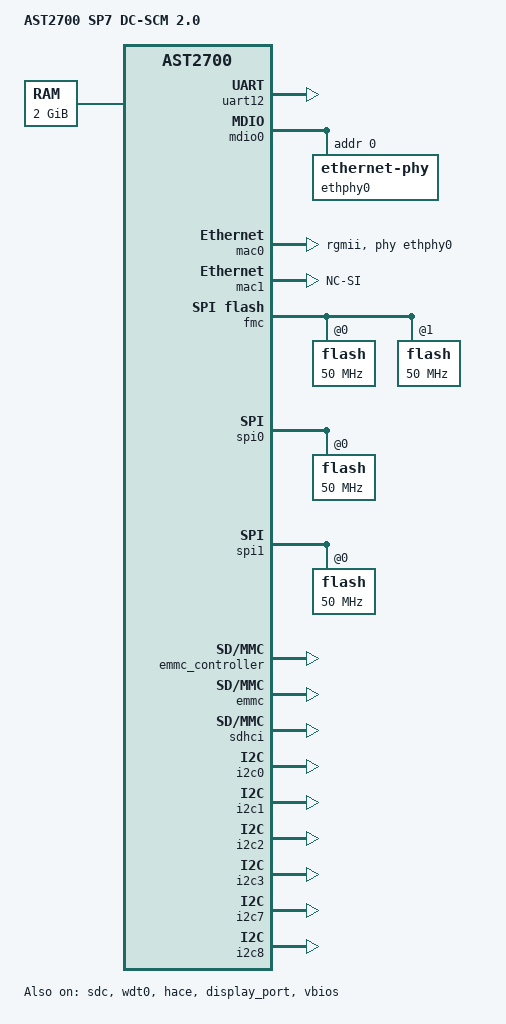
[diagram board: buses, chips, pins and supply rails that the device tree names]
// SPDX-License-Identifier: GPL-2.0+

/dts-v1/;

#include "ast2700.dtsi"
#include "ast2700-u-boot.dtsi"

/ {
	model = "AST2700 SP7 DC-SCM 2.0";
	compatible = "aspeed,ast2700-sp7", "aspeed,ast2700";

	memory {
		device_type = "memory";
		reg = <0x4 0x00000000 0x0 0x80000000>;
	};

	chosen {
		stdout-path = &uart12;
	};

	reserved-memory {
		#address-cells = <2>;
		#size-cells = <2>;

		bmc_dev0_memory: bmc-dev0-memory@423800000 {
			reg = <0x4 0x23800000 0x0 0x100000>;
			no-map;
		};

		bmc_dev1_memory: bmc-dev1-memory@423900000 {
			reg = <0x4 0x23900000 0x0 0x100000>;
			no-map;
		};

		pcie0_mmbi0_memory: pcie0-mmbi0-memory@423a00000 {
			reg = <0x4 0x23a00000 0x0 0x200000>;
			no-map;
		};

		pcie1_mmbi4_memory: pcie1-mmbi4-memory@423c00000 {
			reg = <0x4 0x23c00000 0x0 0x200000>;
			no-map;
		};

		pcie2_mmbi0_memory: pcie2-mmbi0-memory@423e00000 {
			reg = <0x4 0x23e00000 0x0 0x200000>;
			no-map;
		};

		espi0_mmbi_memory: espi0-mmbi-memory@424000000 {
			reg = <0x4 0x24000000 0x0 0x4000000>;
			no-map;
		};

		espi1_mmbi_memory: espi1-mmbi-memory@428000000 {
			reg = <0x4 0x28000000 0x0 0x4000000>;
			no-map;
		};

		ssp_memory: ssp-memory@42c000000 {
			reg = <0x4 0x2c000000 0x0 0x2000000>;
			no-map;
		};

		tsp_memory: tsp-memory@42e000000 {
			reg = <0x4 0x2e000000 0x0 0x2000000>;
			no-map;
		};

		atf: trusted-firmware-a@430000000 {
			reg = <0x4 0x30000000 0x0 0x80000>;
			no-map;
		};

		optee_core: optee-core@430080000 {
			reg = <0x4 0x30080000 0x0 0x1000000>;
			no-map;
		};

		vbios_base0: vbios-base0@431bb0000 {
			reg = <0x4 0x31bb0000 0x0 0x10000>;
			no-map;
		};

		vbios_base1: vbios-base1@431bc0000 {
			reg = <0x4 0x31bc0000 0x0 0x10000>;
			no-map;
		};

		mctp0_reserved: mctp0-reserved@431bd0000 {
			reg = <0x4 0x31bd0000 0x0 0x10000>;
			no-map;
		};

		mctp1_reserved: mctp1-reserved@431be0000 {
			reg = <0x4 0x31be0000 0x0 0x10000>;
			no-map;
		};

		mctp2_reserved: mctp2-reserved@431bf0000 {
			reg = <0x4 0x31bf0000 0x0 0x10000>;
			no-map;
		};
	};
};

&uart12 {
	status = "okay";
};

&mdio0 {
	status = "okay";
	#address-cells = <1>;
	#size-cells = <0>;
	ethphy0: ethernet-phy@0 {
		reg = <0>;
	};
};

&mac0 {
	status = "okay";
	phy-mode = "rgmii";
	phy-handle = <&ethphy0>;
	pinctrl-names = "default";
	pinctrl-0 = <&pinctrl_rgmii0_default>;
};

&mac1 {
	status = "okay";
	phy-mode = "NC-SI";
	use-ncsi;
	pinctrl-name = "default";
	pinctrl-0 = <&pinctrl_rmii1_default>;
	/delete-property/phy-handle;

};

&fmc {
	status = "okay";
	pinctrl-names = "default";
	pinctrl-0 = <&pinctrl_fwspi_quad_default>;

	/* BMC Flash */
	flash@0 {
		status = "okay";
		spi-max-frequency = <50000000>;
		spi-tx-bus-width = <4>;
		spi-rx-bus-width = <4>;
	};

	/* MP Flash */
	flash@1 {
		status = "okay";
		spi-max-frequency = <50000000>;
		spi-tx-bus-width = <4>;
		spi-rx-bus-width = <4>;
	};
};

&spi0 {
	status = "okay";
	pinctrl-names = "default";
	pinctrl-0 = <&pinctrl_spi0_default &pinctrl_spi0_cs1_default>;

	/* SCM Flashes: P0, P1, RoT Flash */
	flash@0 {
		status = "okay";
		spi-max-frequency = <50000000>;
		spi-tx-bus-width = <1>;
		spi-rx-bus-width = <1>;
	};
};

&spi1 {
	status = "okay";
	pinctrl-names = "default";
	pinctrl-0 = <&pinctrl_spi1_default &pinctrl_spi1_cs1_default>;

	/* HPM Flashes */
	flash@0 {
		status = "okay";
		spi-max-frequency = <50000000>;
		spi-tx-bus-width = <1>;
		spi-rx-bus-width = <1>;
	};
};

&emmc_controller {
	status = "okay";
	timing-phase = <0xf0097>;
};

&emmc {
	status = "okay";
};

&sdc {
	timing-phase = <0x1f0097>;
	status = "okay";
};

&sdhci {
	status = "okay";
	sdhci,auto-cmd12;
	sdhci-drive-type = <3>;
};

&i2c0 {
	status = "okay";
};

&i2c1 {
	status = "okay";
};

&i2c2 {
	status = "okay";
};

&i2c3 {
	status = "okay";
};

&i2c7 {
	status = "okay";
};

&i2c8 {
	status = "okay";
};

&wdt0 {
	status = "okay";
};

&hace {
	status = "okay";
};

&display_port {
	status = "okay";
};

&vbios {
	status = "okay";
};

&soc1_clk {
	mac0-clk-delay = <0x35 0x34
			  0x10 0x10
			  0x10 0x10>;
	mac1-clk-delay = <0x35 0x33
			  0x10 0x10
			  0x10 0x10>;
};
